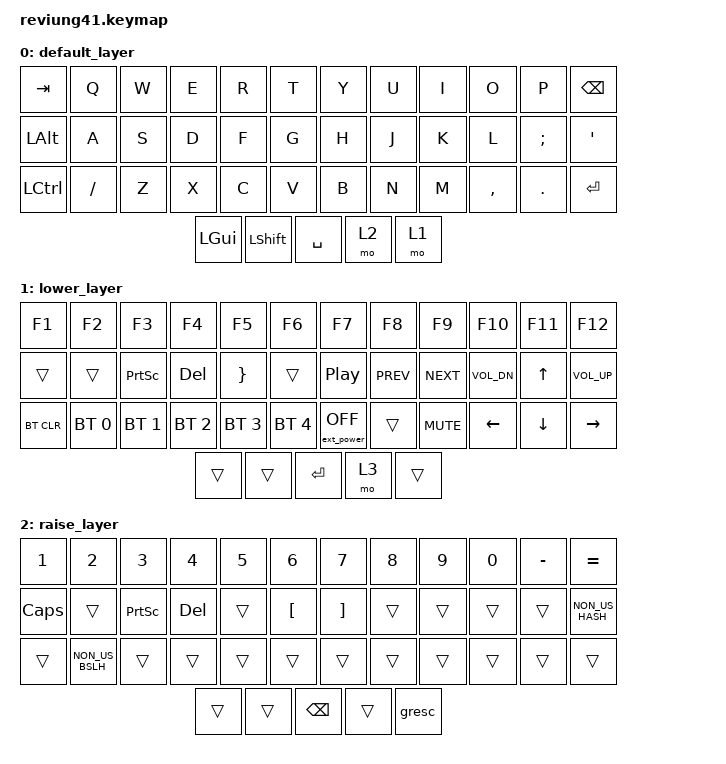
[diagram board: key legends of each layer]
/*
 * Copyright (c) 2020 The ZMK Contributors
 *
 * SPDX-License-Identifier: MIT
 */

#include <behaviors.dtsi>
#include <dt-bindings/zmk/keys.h>
#include <dt-bindings/zmk/bt.h>
#include <dt-bindings/zmk/ext_power.h>

/ {
        keymap {
                compatible = "zmk,keymap";

                default_layer {
// -------------------------------------------------------------------------------------
// |  TAB |  Q  |  W  |  E  |  R  |  T  |   |  Y  |  U   |  I  |  O  |  P  |   BKSP    |
// | CTRL |  A  |  S  |  D  |  F  |  G  |   |  H  |  J   |  K  |  L  |  ;  |    '      |
// | SHFT |  Z  |  X  |  C  |  V  |  B  |   |  N  |  M   |  ,  |  .  |  /  | SHFT(RET) |
//                         | ALT | LWR | SPC | RSE  | ALT |
                        bindings = <
   &kp TAB   &kp Q &kp W &kp E &kp R &kp T   &kp Y &kp U  &kp I     &kp O   &kp P    &kp BSPC
   &kp LALT &kp A &kp S &kp D &kp F &kp G   &kp H &kp J  &kp K     &kp L   &kp SEMI &kp SQT
   &kp LCTRL &kp FSLH  &kp Z &kp X &kp C &kp V &kp B   &kp N &kp M  &kp COMMA &kp DOT &kp RET
                        &kp LGUI  &kp LSHFT &kp SPACE &mo 2  &mo 1
                        >;
                };

                lower_layer {
// ----------------------------------------------------------------------------------
// |    |  !  |  @  |  #  |  $  |  %  |   |  ^  |  &  |  *  |  (  |  )  |    DEL    |
// |    |  _  |  +  |  {  |  }  | "|" |   | LFT | DWN |  UP | RGT |  `  |     ~     |
// |    | ESC | GUI | ALT | CAPS|  "  |   | HOME| END | PGUP| PGDN| PRSC| SHFT(RET) |
//                       |     |     | RET | ADJ |     |
                        bindings = <
   &kp F1 &kp F2  &kp F3      &kp F4 &kp F5 &kp F6      &kp F7 &kp F8 &kp F9    &kp F10  &kp F11  &kp F12
   &trans &trans &kp PSCRN &kp DEL &kp RBRC &trans       &kp C_PP  &kp C_PREV &kp C_NEXT    &kp C_VOL_DN &kp UP &kp C_VOL_UP
   &bt BT_CLR &bt BT_SEL 0   &bt BT_SEL 1    &bt BT_SEL 2 &bt BT_SEL 3 &bt BT_SEL 4 &ext_power EP_OFF  &trans  &kp C_MUTE &kp LEFT &kp DOWN &kp RIGHT
                                 &trans      &trans       &kp RET        &mo 3       &trans
                        >;
                };

                raise_layer {
// -----------------------------------------------------------------------------------------
// |    |  1  |  2  |  3  |  4  |  5  |   |  6  |  7  |  8  |  9  |  0  | DEL |
// |    |  -  |  =  |  [  |  ]  |  \  |   | F1  | F2  | F3  | F4  | F5  | F6  |
// |    | ESC | GUI | ALT | CAPS|  "  |   | F7  | F8  | F9  | F10 | F11 | F12 |
//                       |     | ADJ | BKSP |    |     |
                        bindings = <
   &kp N1    &kp N2    &kp N3    &kp N4    &kp N5        &kp N6    &kp N7    &kp N8    &kp N9    &kp N0  &kp MINUS  &kp EQUAL
   &kp CAPS &trans &kp PSCRN &kp DEL  &trans  &kp LBKT      &kp RBKT    &trans    &trans    &trans    &trans    &kp NON_US_HASH
   &trans &kp NON_US_BSLH   &trans  &trans  &trans  &trans       &trans    &trans    &trans    &trans   &trans   &trans
                                &trans      &trans       &kp BSPC        &trans      &gresc
                        >;
                };
        };
};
